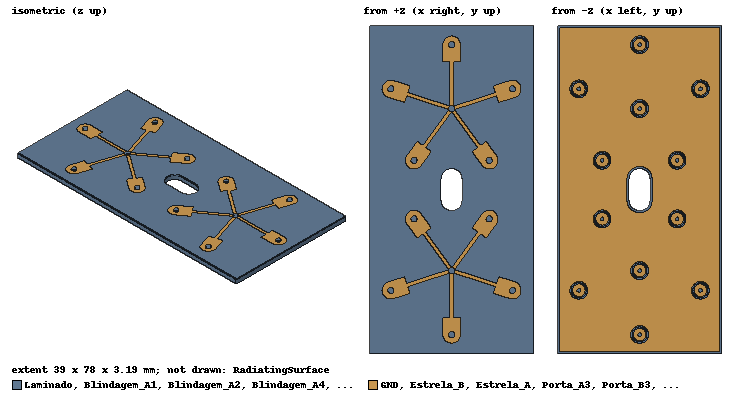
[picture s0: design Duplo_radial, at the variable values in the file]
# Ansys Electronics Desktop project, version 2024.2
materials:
  vacuum: permittivity=1
  ZYF265D: permittivity=2.65 dielectric_loss_tangent=0.0019
  SAC305: permeability=1 conductivity=7575758
  PTFE_UT141: permittivity=2.036 dielectric_loss_tangent=0.0002
  copper: permeability=0.999991 conductivity=58000000

design Duplo_radial (HFSS, HFSS Hybrid Modal Network, model units mm)
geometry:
  Laminado [ZYF265D] = box(corner=(-19.5mm, -39mm, 0mm), size=(39mm, 78mm, 1.52mm))
  GND = polyline(z=0mm, xy in mm: (-18.98, -38.48) (18.98, -38.48) (18.98, 38.48) (-18.98, 38.48) (-18.98, -38.48), closed, covered)
  Estrela_B = polyline(z=1.52mm, xy in mm: (-7.89708583, 5.15637199) (-8.14045905, 5.0363536) (-8.39741573, 4.94912856) (-8.66355925, 4.89618932) (-8.93433583, 4.87844169) (-9.20511242, 4.89618932) (-9.47125594, 4.94912856) (-9.72821262, 5.0363536) (-9.97158583, 5.15637199) (-10.19721142, 5.30713018) (-10.40122885, 5.48604867) (-10.58014734, 5.6900661) (-10.73090553, 5.91569169) (-10.85092393, 6.15906491) (-10.93814896, 6.41602158) (-10.9910882, 6.6821651) (-11.00883583, 6.95294169) (-10.9910882, 7.22371827) (-10.93814896, 7.48986179) (-10.85092393, 7.74681847) (-10.73090553, 7.99019169) (-10.61034035, 8.17063024) (-10.61264159, 8.17230219) (-8.20330984, 11.48846285) (-6.86236417, 10.5142088) (-0.77836951, 18.88810905) (-0.7945364, 18.92089225) (-0.83069621, 19.02741562) (-0.84218693, 19.08518337) (-10.68653847, 22.28380709) (-11.19873414, 20.70743091) (-15.0971148, 21.97409157) (-15.09579706, 21.97814716) (-15.24993583, 22.03047022) (-15.49330905, 22.15048861) (-15.71893463, 22.30124681) (-15.92295207, 22.4801653) (-16.10187055, 22.68418273) (-16.25262875, 22.90980831) (-16.37264714, 23.15318153) (-16.45987217, 23.41013821) (-16.51281141, 23.67628173) (-16.53055905, 23.94705831) (-16.51281141, 24.2178349) (-16.45987217, 24.48397842) (-16.37264714, 24.74093509) (-16.25262875, 24.98430831) (-16.10187055, 25.2099339) (-15.92295207, 25.41395133) (-15.71893463, 25.59286982) (-15.49330905, 25.74362801) (-15.24993583, 25.8636464) (-14.99297916, 25.95087144) (-14.72683563, 26.00381068) (-14.45605905, 26.02155831) (-14.18528246, 26.00381068) (-13.91913894, 25.95087144) (-13.81632103, 25.91596947) (-13.81500329, 25.92002506) (-9.91662263, 24.6533644) (-10.4288183, 23.07698822) (-0.58486904, 19.87849522) (-0.52353483, 19.93228387) (-0.43, 19.99478185) (-0.417, 20.00119274) (-0.417, 30.351) (-2.0745, 30.351) (-2.0745, 34.45) (-2.05675236, 34.72077659) (-2.00381313, 34.98692011) (-1.91658809, 35.24387678) (-1.7965697, 35.48725) (-1.6458115, 35.71287558) (-1.46689302, 35.91689302) (-1.26287558, 36.0958115) (-1.03725, 36.2465697) (-0.79387678, 36.36658809) (-0.53692011, 36.45381313) (-0.27077659, 36.50675236) (0, 36.5245) (0.27077659, 36.50675236) (0.53692011, 36.45381313) (0.79387678, 36.36658809) (1.03725, 36.2465697) (1.26287558, 36.0958115) (1.46689302, 35.91689302) (1.6458115, 35.71287558) (1.7965697, 35.48725) (1.91658809, 35.24387678) (2.00381313, 34.98692011) (2.05675236, 34.72077659) (2.0745, 34.45) (2.0745, 30.351) (0.417, 30.351) (0.417, 20.00119274) (0.43, 19.99478185) (0.52353483, 19.93228387) (0.58486904, 19.87849522) (10.4288183, 23.07698822) (9.91662263, 24.6533644) (13.81500329, 25.92002506) (13.81632103, 25.91596947) (13.91913894, 25.95087144) (14.18528246, 26.00381068) (14.45605905, 26.02155831) (14.72683563, 26.00381068) (14.99297916, 25.95087144) (15.24993583, 25.8636464) (15.49330905, 25.74362801) (15.71893463, 25.59286982) (15.92295207, 25.41395133) (16.10187055, 25.2099339) (16.25262875, 24.98430831) (16.37264714, 24.74093509) (16.45987217, 24.48397842) (16.51281141, 24.2178349) (16.53055905, 23.94705831) (16.51281141, 23.67628173) (16.45987217, 23.41013821) (16.37264714, 23.15318153) (16.25262875, 22.90980831) (16.10187055, 22.68418273) (15.92295207, 22.4801653) (15.71893463, 22.30124681) (15.49330905, 22.15048861) (15.24993583, 22.03047022) (15.09579706, 21.97814716) (15.0971148, 21.97409157) (11.19873414, 20.70743091) (10.68653847, 22.28380709) (0.84218693, 19.08518337) (0.83069621, 19.02741562) (0.7945364, 18.92089225) (0.77836951, 18.88810905) (6.86236417, 10.5142088) (8.20330984, 11.48846285) (10.61264159, 8.17230219) (10.61034035, 8.17063024) (10.73090553, 7.99019169) (10.85092393, 7.74681847) (10.93814896, 7.48986179) (10.9910882, 7.22371827) (11.00883583, 6.95294169) (10.9910882, 6.6821651) (10.93814896, 6.41602158) (10.85092393, 6.15906491) (10.73090553, 5.91569169) (10.58014734, 5.6900661) (10.40122885, 5.48604867) (10.19721142, 5.30713018) (9.97158583, 5.15637199) (9.72821262, 5.0363536) (9.47125594, 4.94912856) (9.20511242, 4.89618932) (8.93433583, 4.87844169) (8.66355925, 4.89618932) (8.39741573, 4.94912856) (8.14045905, 5.0363536) (7.89708583, 5.15637199) (7.67146025, 5.30713018) (7.46744282, 5.48604867) (7.28852433, 5.6900661) (7.25833132, 5.73525313) (7.25603008, 5.73358118) (4.84669833, 9.04974184) (6.187644, 10.0239959) (0.10441402, 18.39684366) (0, 18.39) (-0.10441402, 18.39684366) (-6.187644, 10.0239959) (-4.84669833, 9.04974184) (-7.25603008, 5.73358118) (-7.25833132, 5.73525313) (-7.28852433, 5.6900661) (-7.46744282, 5.48604867) (-7.67146025, 5.30713018) (-7.89708583, 5.15637199), closed, covered)
  Estrela_A = polyline(z=1.52mm, xy in mm: (-0.417, -20.00119274) (-0.43, -19.99478185) (-0.52353483, -19.93228387) (-0.58486904, -19.87849522) (-10.4288183, -23.07698822) (-9.91662263, -24.6533644) (-13.81500329, -25.92002506) (-13.81632103, -25.91596947) (-13.91913894, -25.95087144) (-14.18528246, -26.00381068) (-14.45605905, -26.02155831) (-14.72683563, -26.00381068) (-14.99297916, -25.95087144) (-15.24993583, -25.8636464) (-15.49330905, -25.74362801) (-15.71893463, -25.59286982) (-15.92295207, -25.41395133) (-16.10187055, -25.2099339) (-16.25262875, -24.98430831) (-16.37264714, -24.74093509) (-16.45987217, -24.48397842) (-16.51281141, -24.2178349) (-16.53055905, -23.94705831) (-16.51281141, -23.67628173) (-16.45987217, -23.41013821) (-16.37264714, -23.15318153) (-16.25262875, -22.90980831) (-16.10187055, -22.68418273) (-15.92295207, -22.4801653) (-15.71893463, -22.30124681) (-15.49330905, -22.15048861) (-15.24993583, -22.03047022) (-15.09579706, -21.97814716) (-15.0971148, -21.97409157) (-11.19873414, -20.70743091) (-10.68653847, -22.28380709) (-0.84218693, -19.08518337) (-0.83069621, -19.02741562) (-0.7945364, -18.92089225) (-0.77836951, -18.88810905) (-6.86236417, -10.5142088) (-8.20330984, -11.48846285) (-10.61264159, -8.17230219) (-10.61034035, -8.17063024) (-10.73090553, -7.99019169) (-10.85092393, -7.74681847) (-10.93814896, -7.48986179) (-10.9910882, -7.22371827) (-11.00883583, -6.95294169) (-10.9910882, -6.6821651) (-10.93814896, -6.41602158) (-10.85092393, -6.15906491) (-10.73090553, -5.91569169) (-10.58014734, -5.6900661) (-10.40122885, -5.48604867) (-10.19721142, -5.30713018) (-9.97158583, -5.15637199) (-9.72821262, -5.0363536) (-9.47125594, -4.94912856) (-9.20511242, -4.89618932) (-8.93433583, -4.87844169) (-8.66355925, -4.89618932) (-8.39741573, -4.94912856) (-8.14045905, -5.0363536) (-7.89708583, -5.15637199) (-7.67146025, -5.30713018) (-7.46744282, -5.48604867) (-7.28852433, -5.6900661) (-7.25833132, -5.73525313) (-7.25603008, -5.73358118) (-4.84669833, -9.04974184) (-6.187644, -10.0239959) (-0.10441402, -18.39684366) (0, -18.39) (0.10441402, -18.39684366) (6.187644, -10.0239959) (4.84669833, -9.04974184) (7.25603008, -5.73358118) (7.25833132, -5.73525313) (7.28852433, -5.6900661) (7.46744282, -5.48604867) (7.67146025, -5.30713018) (7.89708583, -5.15637199) (8.14045905, -5.0363536) (8.39741573, -4.94912856) (8.66355925, -4.89618932) (8.93433583, -4.87844169) (9.20511242, -4.89618932) (9.47125594, -4.94912856) (9.72821262, -5.0363536) (9.97158583, -5.15637199) (10.19721142, -5.30713018) (10.40122885, -5.48604867) (10.58014734, -5.6900661) (10.73090553, -5.91569169) (10.85092393, -6.15906491) (10.93814896, -6.41602158) (10.9910882, -6.6821651) (11.00883583, -6.95294169) (10.9910882, -7.22371827) (10.93814896, -7.48986179) (10.85092393, -7.74681847) (10.73090553, -7.99019169) (10.61034035, -8.17063024) (10.61264159, -8.17230219) (8.20330984, -11.48846285) (6.86236417, -10.5142088) (0.77836951, -18.88810905) (0.7945364, -18.92089225) (0.83069621, -19.02741562) (0.84218693, -19.08518337) (10.68653847, -22.28380709) (11.19873414, -20.70743091) (15.0971148, -21.97409157) (15.09579706, -21.97814716) (15.24993583, -22.03047022) (15.49330905, -22.15048861) (15.71893463, -22.30124681) (15.92295207, -22.4801653) (16.10187055, -22.68418273) (16.25262875, -22.90980831) (16.37264714, -23.15318153) (16.45987217, -23.41013821) (16.51281141, -23.67628173) (16.53055905, -23.94705831) (16.51281141, -24.2178349) (16.45987217, -24.48397842) (16.37264714, -24.74093509) (16.25262875, -24.98430831) (16.10187055, -25.2099339) (15.92295207, -25.41395133) (15.71893463, -25.59286982) (15.49330905, -25.74362801) (15.24993583, -25.8636464) (14.99297916, -25.95087144) (14.72683563, -26.00381068) (14.45605905, -26.02155831) (14.18528246, -26.00381068) (13.91913894, -25.95087144) (13.81632103, -25.91596947) (13.81500329, -25.92002506) (9.91662263, -24.6533644) (10.4288183, -23.07698822) (0.58486904, -19.87849522) (0.52353483, -19.93228387) (0.43, -19.99478185) (0.417, -20.00119274) (0.417, -30.351) (2.0745, -30.351) (2.0745, -34.45) (2.05675236, -34.72077659) (2.00381313, -34.98692011) (1.91658809, -35.24387678) (1.7965697, -35.48725) (1.6458115, -35.71287558) (1.46689302, -35.91689302) (1.26287558, -36.0958115) (1.03725, -36.2465697) (0.79387678, -36.36658809) (0.53692011, -36.45381313) (0.27077659, -36.50675236) (0, -36.5245) (-0.27077659, -36.50675236) (-0.53692011, -36.45381313) (-0.79387678, -36.36658809) (-1.03725, -36.2465697) (-1.26287558, -36.0958115) (-1.46689302, -35.91689302) (-1.6458115, -35.71287558) (-1.7965697, -35.48725) (-1.91658809, -35.24387678) (-2.00381313, -34.98692011) (-2.05675236, -34.72077659) (-2.0745, -34.45) (-2.0745, -30.351) (-0.417, -30.351) (-0.417, -20.00119274), closed, covered)
  Abertura_A_IN = circle(normal=Z, centre=(0mm, -19.25mm, 0mm), radius=1.515mm, segments=24)
  Pino_A_IN [copper] = cylinder(axis=Z, base_centre=(0mm, -19.25mm, 0mm), radius=0.525mm, height=1.52mm, segments=24)
  Anel_A_IN = circle(normal=Z, centre=(0mm, -19.25mm, 0mm), radius=0.73mm, segments=24)
  Blindagem_A_IN [copper] = cylinder(axis=Z, base_centre=(0mm, -19.25mm, -1.5mm), radius=1.7905mm, height=1.5mm, segments=24)
  PTFE_A_IN [PTFE_UT141] = cylinder(axis=Z, base_centre=(0mm, -19.25mm, -1.5mm), radius=1.515mm, height=1.5mm, segments=24)
  PTFE_A_IN_1 = PTFE_A_IN.copy()
  Blindagem_A_IN.subtract(PTFE_A_IN_1)
  Central_A_IN [copper] = cylinder(axis=Z, base_centre=(0mm, -19.25mm, -1.5mm), radius=0.45975mm, height=1.5mm, segments=24)
  Central_A_IN_1 = Central_A_IN.copy()
  PTFE_A_IN.subtract(Central_A_IN_1)
  Solda_ext_A_IN [SAC305] = cylinder(axis=Z, base_centre=(0mm, -19.25mm, -0.18mm), radius=2.13mm, height=0.18mm, segments=24)
  Recorte_ext_A_IN = cylinder(axis=Z, base_centre=(0mm, -19.25mm, -0.18mm), radius=1.7905mm, height=0.18mm, segments=24)
  Solda_ext_A_IN.subtract(Recorte_ext_A_IN)
  Solda_top_A_IN [SAC305] = cylinder(axis=Z, base_centre=(0mm, -19.25mm, 1.52mm), radius=0.74mm, height=0.17mm, segments=24)
  Abertura_A1 = circle(normal=Z, centre=(-14.45605905mm, -23.94705831mm, 0mm), radius=1.515mm, segments=24)
  Pino_A1 [copper] = cylinder(axis=Z, base_centre=(-14.45605905mm, -23.94705831mm, 0mm), radius=0.525mm, height=1.52mm, segments=24)
  Anel_A1 = circle(normal=Z, centre=(-14.45605905mm, -23.94705831mm, 0mm), radius=0.73mm, segments=24)
  Blindagem_A1 [copper] = cylinder(axis=Z, base_centre=(-14.45605905mm, -23.94705831mm, -1.5mm), radius=1.7905mm, height=1.5mm, segments=24)
  PTFE_A1 [PTFE_UT141] = cylinder(axis=Z, base_centre=(-14.45605905mm, -23.94705831mm, -1.5mm), radius=1.515mm, height=1.5mm, segments=24)
  PTFE_A1_1 = PTFE_A1.copy()
  Blindagem_A1.subtract(PTFE_A1_1)
  Central_A1 [copper] = cylinder(axis=Z, base_centre=(-14.45605905mm, -23.94705831mm, -1.5mm), radius=0.45975mm, height=1.5mm, segments=24)
  Central_A1_1 = Central_A1.copy()
  PTFE_A1.subtract(Central_A1_1)
  Solda_ext_A1 [SAC305] = cylinder(axis=Z, base_centre=(-14.45605905mm, -23.94705831mm, -0.18mm), radius=2.13mm, height=0.18mm, segments=24)
  Recorte_ext_A1 = cylinder(axis=Z, base_centre=(-14.45605905mm, -23.94705831mm, -0.18mm), radius=1.7905mm, height=0.18mm, segments=24)
  Solda_ext_A1.subtract(Recorte_ext_A1)
  Solda_top_A1 [SAC305] = cylinder(axis=Z, base_centre=(-14.45605905mm, -23.94705831mm, 1.52mm), radius=0.74mm, height=0.17mm, segments=24)
  Abertura_A2 = circle(normal=Z, centre=(-8.93433583mm, -6.95294169mm, 0mm), radius=1.515mm, segments=24)
  Pino_A2 [copper] = cylinder(axis=Z, base_centre=(-8.93433583mm, -6.95294169mm, 0mm), radius=0.525mm, height=1.52mm, segments=24)
  Anel_A2 = circle(normal=Z, centre=(-8.93433583mm, -6.95294169mm, 0mm), radius=0.73mm, segments=24)
  Blindagem_A2 [copper] = cylinder(axis=Z, base_centre=(-8.93433583mm, -6.95294169mm, -1.5mm), radius=1.7905mm, height=1.5mm, segments=24)
  PTFE_A2 [PTFE_UT141] = cylinder(axis=Z, base_centre=(-8.93433583mm, -6.95294169mm, -1.5mm), radius=1.515mm, height=1.5mm, segments=24)
  PTFE_A2_1 = PTFE_A2.copy()
  Blindagem_A2.subtract(PTFE_A2_1)
  Central_A2 [copper] = cylinder(axis=Z, base_centre=(-8.93433583mm, -6.95294169mm, -1.5mm), radius=0.45975mm, height=1.5mm, segments=24)
  Central_A2_1 = Central_A2.copy()
  PTFE_A2.subtract(Central_A2_1)
  Solda_ext_A2 [SAC305] = cylinder(axis=Z, base_centre=(-8.93433583mm, -6.95294169mm, -0.18mm), radius=2.13mm, height=0.18mm, segments=24)
  Recorte_ext_A2 = cylinder(axis=Z, base_centre=(-8.93433583mm, -6.95294169mm, -0.18mm), radius=1.7905mm, height=0.18mm, segments=24)
  Solda_ext_A2.subtract(Recorte_ext_A2)
  Solda_top_A2 [SAC305] = cylinder(axis=Z, base_centre=(-8.93433583mm, -6.95294169mm, 1.52mm), radius=0.74mm, height=0.17mm, segments=24)
  Abertura_A3 = circle(normal=Z, centre=(0mm, -34.45mm, 0mm), radius=1.515mm, segments=24)
  Pino_A3 [copper] = cylinder(axis=Z, base_centre=(0mm, -34.45mm, 0mm), radius=0.525mm, height=1.52mm, segments=24)
  Anel_A3 = circle(normal=Z, centre=(0mm, -34.45mm, 0mm), radius=0.73mm, segments=24)
  Blindagem_A3 [copper] = cylinder(axis=Z, base_centre=(0mm, -34.45mm, -1.5mm), radius=1.7905mm, height=1.5mm, segments=24)
  PTFE_A3 [PTFE_UT141] = cylinder(axis=Z, base_centre=(0mm, -34.45mm, -1.5mm), radius=1.515mm, height=1.5mm, segments=24)
  PTFE_A3_1 = PTFE_A3.copy()
  Blindagem_A3.subtract(PTFE_A3_1)
  Central_A3 [copper] = cylinder(axis=Z, base_centre=(0mm, -34.45mm, -1.5mm), radius=0.45975mm, height=1.5mm, segments=24)
  Central_A3_1 = Central_A3.copy()
  PTFE_A3.subtract(Central_A3_1)
  Solda_ext_A3 [SAC305] = cylinder(axis=Z, base_centre=(0mm, -34.45mm, -0.18mm), radius=2.13mm, height=0.18mm, segments=24)
  Recorte_ext_A3 = cylinder(axis=Z, base_centre=(0mm, -34.45mm, -0.18mm), radius=1.7905mm, height=0.18mm, segments=24)
  Solda_ext_A3.subtract(Recorte_ext_A3)
  Solda_top_A3 [SAC305] = cylinder(axis=Z, base_centre=(0mm, -34.45mm, 1.52mm), radius=0.74mm, height=0.17mm, segments=24)
  Abertura_A4 = circle(normal=Z, centre=(8.93433583mm, -6.95294169mm, 0mm), radius=1.515mm, segments=24)
  Pino_A4 [copper] = cylinder(axis=Z, base_centre=(8.93433583mm, -6.95294169mm, 0mm), radius=0.525mm, height=1.52mm, segments=24)
  Anel_A4 = circle(normal=Z, centre=(8.93433583mm, -6.95294169mm, 0mm), radius=0.73mm, segments=24)
  Blindagem_A4 [copper] = cylinder(axis=Z, base_centre=(8.93433583mm, -6.95294169mm, -1.5mm), radius=1.7905mm, height=1.5mm, segments=24)
  PTFE_A4 [PTFE_UT141] = cylinder(axis=Z, base_centre=(8.93433583mm, -6.95294169mm, -1.5mm), radius=1.515mm, height=1.5mm, segments=24)
  PTFE_A4_1 = PTFE_A4.copy()
  Blindagem_A4.subtract(PTFE_A4_1)
  Central_A4 [copper] = cylinder(axis=Z, base_centre=(8.93433583mm, -6.95294169mm, -1.5mm), radius=0.45975mm, height=1.5mm, segments=24)
  Central_A4_1 = Central_A4.copy()
  PTFE_A4.subtract(Central_A4_1)
  Solda_ext_A4 [SAC305] = cylinder(axis=Z, base_centre=(8.93433583mm, -6.95294169mm, -0.18mm), radius=2.13mm, height=0.18mm, segments=24)
  Recorte_ext_A4 = cylinder(axis=Z, base_centre=(8.93433583mm, -6.95294169mm, -0.18mm), radius=1.7905mm, height=0.18mm, segments=24)
  Solda_ext_A4.subtract(Recorte_ext_A4)
  Solda_top_A4 [SAC305] = cylinder(axis=Z, base_centre=(8.93433583mm, -6.95294169mm, 1.52mm), radius=0.74mm, height=0.17mm, segments=24)
  Abertura_A5 = circle(normal=Z, centre=(14.45605905mm, -23.94705831mm, 0mm), radius=1.515mm, segments=24)
  Pino_A5 [copper] = cylinder(axis=Z, base_centre=(14.45605905mm, -23.94705831mm, 0mm), radius=0.525mm, height=1.52mm, segments=24)
  Anel_A5 = circle(normal=Z, centre=(14.45605905mm, -23.94705831mm, 0mm), radius=0.73mm, segments=24)
  Blindagem_A5 [copper] = cylinder(axis=Z, base_centre=(14.45605905mm, -23.94705831mm, -1.5mm), radius=1.7905mm, height=1.5mm, segments=24)
  PTFE_A5 [PTFE_UT141] = cylinder(axis=Z, base_centre=(14.45605905mm, -23.94705831mm, -1.5mm), radius=1.515mm, height=1.5mm, segments=24)
  PTFE_A5_1 = PTFE_A5.copy()
  Blindagem_A5.subtract(PTFE_A5_1)
  Central_A5 [copper] = cylinder(axis=Z, base_centre=(14.45605905mm, -23.94705831mm, -1.5mm), radius=0.45975mm, height=1.5mm, segments=24)
  Central_A5_1 = Central_A5.copy()
  PTFE_A5.subtract(Central_A5_1)
  Solda_ext_A5 [SAC305] = cylinder(axis=Z, base_centre=(14.45605905mm, -23.94705831mm, -0.18mm), radius=2.13mm, height=0.18mm, segments=24)
  Recorte_ext_A5 = cylinder(axis=Z, base_centre=(14.45605905mm, -23.94705831mm, -0.18mm), radius=1.7905mm, height=0.18mm, segments=24)
  Solda_ext_A5.subtract(Recorte_ext_A5)
  Solda_top_A5 [SAC305] = cylinder(axis=Z, base_centre=(14.45605905mm, -23.94705831mm, 1.52mm), radius=0.74mm, height=0.17mm, segments=24)
  Abertura_B_IN = circle(normal=Z, centre=(0mm, 19.25mm, 0mm), radius=1.515mm, segments=24)
  Pino_B_IN [copper] = cylinder(axis=Z, base_centre=(0mm, 19.25mm, 0mm), radius=0.525mm, height=1.52mm, segments=24)
  Anel_B_IN = circle(normal=Z, centre=(0mm, 19.25mm, 0mm), radius=0.73mm, segments=24)
  Blindagem_B_IN [copper] = cylinder(axis=Z, base_centre=(0mm, 19.25mm, -1.5mm), radius=1.7905mm, height=1.5mm, segments=24)
  PTFE_B_IN [PTFE_UT141] = cylinder(axis=Z, base_centre=(0mm, 19.25mm, -1.5mm), radius=1.515mm, height=1.5mm, segments=24)
  PTFE_B_IN_1 = PTFE_B_IN.copy()
  Blindagem_B_IN.subtract(PTFE_B_IN_1)
  Central_B_IN [copper] = cylinder(axis=Z, base_centre=(0mm, 19.25mm, -1.5mm), radius=0.45975mm, height=1.5mm, segments=24)
  Central_B_IN_1 = Central_B_IN.copy()
  PTFE_B_IN.subtract(Central_B_IN_1)
  Solda_ext_B_IN [SAC305] = cylinder(axis=Z, base_centre=(0mm, 19.25mm, -0.18mm), radius=2.13mm, height=0.18mm, segments=24)
  Recorte_ext_B_IN = cylinder(axis=Z, base_centre=(0mm, 19.25mm, -0.18mm), radius=1.7905mm, height=0.18mm, segments=24)
  Solda_ext_B_IN.subtract(Recorte_ext_B_IN)
  Solda_top_B_IN [SAC305] = cylinder(axis=Z, base_centre=(0mm, 19.25mm, 1.52mm), radius=0.74mm, height=0.17mm, segments=24)
  Abertura_B1 = circle(normal=Z, centre=(-14.45605905mm, 23.94705831mm, 0mm), radius=1.515mm, segments=24)
  Pino_B1 [copper] = cylinder(axis=Z, base_centre=(-14.45605905mm, 23.94705831mm, 0mm), radius=0.525mm, height=1.52mm, segments=24)
  Anel_B1 = circle(normal=Z, centre=(-14.45605905mm, 23.94705831mm, 0mm), radius=0.73mm, segments=24)
  Blindagem_B1 [copper] = cylinder(axis=Z, base_centre=(-14.45605905mm, 23.94705831mm, -1.5mm), radius=1.7905mm, height=1.5mm, segments=24)
  PTFE_B1 [PTFE_UT141] = cylinder(axis=Z, base_centre=(-14.45605905mm, 23.94705831mm, -1.5mm), radius=1.515mm, height=1.5mm, segments=24)
  PTFE_B1_1 = PTFE_B1.copy()
  Blindagem_B1.subtract(PTFE_B1_1)
  Central_B1 [copper] = cylinder(axis=Z, base_centre=(-14.45605905mm, 23.94705831mm, -1.5mm), radius=0.45975mm, height=1.5mm, segments=24)
  Central_B1_1 = Central_B1.copy()
  PTFE_B1.subtract(Central_B1_1)
  Solda_ext_B1 [SAC305] = cylinder(axis=Z, base_centre=(-14.45605905mm, 23.94705831mm, -0.18mm), radius=2.13mm, height=0.18mm, segments=24)
  Recorte_ext_B1 = cylinder(axis=Z, base_centre=(-14.45605905mm, 23.94705831mm, -0.18mm), radius=1.7905mm, height=0.18mm, segments=24)
  Solda_ext_B1.subtract(Recorte_ext_B1)
  Solda_top_B1 [SAC305] = cylinder(axis=Z, base_centre=(-14.45605905mm, 23.94705831mm, 1.52mm), radius=0.74mm, height=0.17mm, segments=24)
  Abertura_B2 = circle(normal=Z, centre=(-8.93433583mm, 6.95294169mm, 0mm), radius=1.515mm, segments=24)
  Pino_B2 [copper] = cylinder(axis=Z, base_centre=(-8.93433583mm, 6.95294169mm, 0mm), radius=0.525mm, height=1.52mm, segments=24)
  Anel_B2 = circle(normal=Z, centre=(-8.93433583mm, 6.95294169mm, 0mm), radius=0.73mm, segments=24)
  Blindagem_B2 [copper] = cylinder(axis=Z, base_centre=(-8.93433583mm, 6.95294169mm, -1.5mm), radius=1.7905mm, height=1.5mm, segments=24)
  PTFE_B2 [PTFE_UT141] = cylinder(axis=Z, base_centre=(-8.93433583mm, 6.95294169mm, -1.5mm), radius=1.515mm, height=1.5mm, segments=24)
  PTFE_B2_1 = PTFE_B2.copy()
  Blindagem_B2.subtract(PTFE_B2_1)
  Central_B2 [copper] = cylinder(axis=Z, base_centre=(-8.93433583mm, 6.95294169mm, -1.5mm), radius=0.45975mm, height=1.5mm, segments=24)
  Central_B2_1 = Central_B2.copy()
  PTFE_B2.subtract(Central_B2_1)
  Solda_ext_B2 [SAC305] = cylinder(axis=Z, base_centre=(-8.93433583mm, 6.95294169mm, -0.18mm), radius=2.13mm, height=0.18mm, segments=24)
  Recorte_ext_B2 = cylinder(axis=Z, base_centre=(-8.93433583mm, 6.95294169mm, -0.18mm), radius=1.7905mm, height=0.18mm, segments=24)
  Solda_ext_B2.subtract(Recorte_ext_B2)
  Solda_top_B2 [SAC305] = cylinder(axis=Z, base_centre=(-8.93433583mm, 6.95294169mm, 1.52mm), radius=0.74mm, height=0.17mm, segments=24)
  Abertura_B3 = circle(normal=Z, centre=(0mm, 34.45mm, 0mm), radius=1.515mm, segments=24)
  Pino_B3 [copper] = cylinder(axis=Z, base_centre=(0mm, 34.45mm, 0mm), radius=0.525mm, height=1.52mm, segments=24)
  Anel_B3 = circle(normal=Z, centre=(0mm, 34.45mm, 0mm), radius=0.73mm, segments=24)
  Blindagem_B3 [copper] = cylinder(axis=Z, base_centre=(0mm, 34.45mm, -1.5mm), radius=1.7905mm, height=1.5mm, segments=24)
  PTFE_B3 [PTFE_UT141] = cylinder(axis=Z, base_centre=(0mm, 34.45mm, -1.5mm), radius=1.515mm, height=1.5mm, segments=24)
  PTFE_B3_1 = PTFE_B3.copy()
  Blindagem_B3.subtract(PTFE_B3_1)
  Central_B3 [copper] = cylinder(axis=Z, base_centre=(0mm, 34.45mm, -1.5mm), radius=0.45975mm, height=1.5mm, segments=24)
  Central_B3_1 = Central_B3.copy()
  PTFE_B3.subtract(Central_B3_1)
  Solda_ext_B3 [SAC305] = cylinder(axis=Z, base_centre=(0mm, 34.45mm, -0.18mm), radius=2.13mm, height=0.18mm, segments=24)
  Recorte_ext_B3 = cylinder(axis=Z, base_centre=(0mm, 34.45mm, -0.18mm), radius=1.7905mm, height=0.18mm, segments=24)
  Solda_ext_B3.subtract(Recorte_ext_B3)
  Solda_top_B3 [SAC305] = cylinder(axis=Z, base_centre=(0mm, 34.45mm, 1.52mm), radius=0.74mm, height=0.17mm, segments=24)
  Abertura_B4 = circle(normal=Z, centre=(8.93433583mm, 6.95294169mm, 0mm), radius=1.515mm, segments=24)
  Pino_B4 [copper] = cylinder(axis=Z, base_centre=(8.93433583mm, 6.95294169mm, 0mm), radius=0.525mm, height=1.52mm, segments=24)
  Anel_B4 = circle(normal=Z, centre=(8.93433583mm, 6.95294169mm, 0mm), radius=0.73mm, segments=24)
  Blindagem_B4 [copper] = cylinder(axis=Z, base_centre=(8.93433583mm, 6.95294169mm, -1.5mm), radius=1.7905mm, height=1.5mm, segments=24)
  PTFE_B4 [PTFE_UT141] = cylinder(axis=Z, base_centre=(8.93433583mm, 6.95294169mm, -1.5mm), radius=1.515mm, height=1.5mm, segments=24)
  PTFE_B4_1 = PTFE_B4.copy()
  Blindagem_B4.subtract(PTFE_B4_1)
  Central_B4 [copper] = cylinder(axis=Z, base_centre=(8.93433583mm, 6.95294169mm, -1.5mm), radius=0.45975mm, height=1.5mm, segments=24)
  Central_B4_1 = Central_B4.copy()
  PTFE_B4.subtract(Central_B4_1)
  Solda_ext_B4 [SAC305] = cylinder(axis=Z, base_centre=(8.93433583mm, 6.95294169mm, -0.18mm), radius=2.13mm, height=0.18mm, segments=24)
  Recorte_ext_B4 = cylinder(axis=Z, base_centre=(8.93433583mm, 6.95294169mm, -0.18mm), radius=1.7905mm, height=0.18mm, segments=24)
  Solda_ext_B4.subtract(Recorte_ext_B4)
  Solda_top_B4 [SAC305] = cylinder(axis=Z, base_centre=(8.93433583mm, 6.95294169mm, 1.52mm), radius=0.74mm, height=0.17mm, segments=24)
  Abertura_B5 = circle(normal=Z, centre=(14.45605905mm, 23.94705831mm, 0mm), radius=1.515mm, segments=24)
  Pino_B5 [copper] = cylinder(axis=Z, base_centre=(14.45605905mm, 23.94705831mm, 0mm), radius=0.525mm, height=1.52mm, segments=24)
  Anel_B5 = circle(normal=Z, centre=(14.45605905mm, 23.94705831mm, 0mm), radius=0.73mm, segments=24)
  Blindagem_B5 [copper] = cylinder(axis=Z, base_centre=(14.45605905mm, 23.94705831mm, -1.5mm), radius=1.7905mm, height=1.5mm, segments=24)
  PTFE_B5 [PTFE_UT141] = cylinder(axis=Z, base_centre=(14.45605905mm, 23.94705831mm, -1.5mm), radius=1.515mm, height=1.5mm, segments=24)
  PTFE_B5_1 = PTFE_B5.copy()
  Blindagem_B5.subtract(PTFE_B5_1)
  Central_B5 [copper] = cylinder(axis=Z, base_centre=(14.45605905mm, 23.94705831mm, -1.5mm), radius=0.45975mm, height=1.5mm, segments=24)
  Central_B5_1 = Central_B5.copy()
  PTFE_B5.subtract(Central_B5_1)
  Solda_ext_B5 [SAC305] = cylinder(axis=Z, base_centre=(14.45605905mm, 23.94705831mm, -0.18mm), radius=2.13mm, height=0.18mm, segments=24)
  Recorte_ext_B5 = cylinder(axis=Z, base_centre=(14.45605905mm, 23.94705831mm, -0.18mm), radius=1.7905mm, height=0.18mm, segments=24)
  Solda_ext_B5.subtract(Recorte_ext_B5)
  Solda_top_B5 [SAC305] = cylinder(axis=Z, base_centre=(14.45605905mm, 23.94705831mm, 1.52mm), radius=0.74mm, height=0.17mm, segments=24)
  GND.subtract(Abertura_A_IN, Abertura_A1..Abertura_A5, Abertura_B_IN, Abertura_B1..Abertura_B5)
  Pino_A_IN_1 = Pino_A_IN.copy()
  Pino_A1_1 = Pino_A1.copy()
  Pino_A2_1 = Pino_A2.copy()
  Pino_A3_1 = Pino_A3.copy()
  Pino_A4_1 = Pino_A4.copy()
  Pino_A5_1 = Pino_A5.copy()
  Pino_B_IN_1 = Pino_B_IN.copy()
  Pino_B1_1 = Pino_B1.copy()
  Pino_B2_1 = Pino_B2.copy()
  Pino_B3_1 = Pino_B3.copy()
  Pino_B4_1 = Pino_B4.copy()
  Pino_B5_1 = Pino_B5.copy()
  Laminado.subtract(Pino_A_IN_1, Pino_A1_1, Pino_A2_1, Pino_A3_1, Pino_A4_1, Pino_A5_1, Pino_B_IN_1, Pino_B1_1, Pino_B2_1, Pino_B3_1, Pino_B4_1, Pino_B5_1)
  Canal_mecanico = polyline(z=0mm, xy in mm: (-2.5, 2.50916841) (-2.48796182, 2.75421126) (-2.4519632, 2.99689422) (-2.39235084, 3.23488011) (-2.30969883, 3.46587699) (-2.20480316, 3.68766026) (-2.07867403, 3.898094) (-1.93252613, 4.09515162) (-1.76776695, 4.27693537) (-1.58598321, 4.44169455) (-1.38892558, 4.58784244) (-1.17849184, 4.71397157) (-0.95670858, 4.81886724) (-0.72571169, 4.90151925) (-0.48772581, 4.96113161) (-0.24504285, 4.99713023) (0, 5.00916841) (0.24504285, 4.99713023) (0.48772581, 4.96113161) (0.72571169, 4.90151925) (0.95670858, 4.81886724) (1.17849184, 4.71397157) (1.38892558, 4.58784244) (1.58598321, 4.44169455) (1.76776695, 4.27693537) (1.93252613, 4.09515162) (2.07867403, 3.898094) (2.20480316, 3.68766026) (2.30969883, 3.46587699) (2.39235084, 3.23488011) (2.4519632, 2.99689422) (2.48796182, 2.75421126) (2.5, 2.50916841) (2.5, -2.50916841) (2.48796182, -2.75421126) (2.4519632, -2.99689422) (2.39235084, -3.23488011) (2.30969883, -3.46587699) (2.20480316, -3.68766026) (2.07867403, -3.898094) (1.93252613, -4.09515162) (1.76776695, -4.27693537) (1.58598321, -4.44169455) (1.38892558, -4.58784244) (1.17849184, -4.71397157) (0.95670858, -4.81886724) (0.72571169, -4.90151925) (0.48772581, -4.96113161) (0.24504285, -4.99713023) (0, -5.00916841) (-0.24504285, -4.99713023) (-0.48772581, -4.96113161) (-0.72571169, -4.90151925) (-0.95670858, -4.81886724) (-1.17849184, -4.71397157) (-1.38892558, -4.58784244) (-1.58598321, -4.44169455) (-1.76776695, -4.27693537) (-1.93252613, -4.09515162) (-2.07867403, -3.898094) (-2.20480316, -3.68766026) (-2.30969883, -3.46587699) (-2.39235084, -3.23488011) (-2.4519632, -2.99689422) (-2.48796182, -2.75421126) (-2.5, -2.50916841) (-2.5, 2.50916841), closed, covered)
  Canal_mecanico.sweep_along_vector((0mm, 0mm, 1.52mm))
  Laminado.subtract(Canal_mecanico)
  Folga_massa = polyline(z=0mm, xy in mm: (-3, 2.50916841) (-2.98555418, 2.80321983) (-2.94235584, 3.09443938) (-2.87082101, 3.38002244) (-2.7716386, 3.65721871) (-2.64576379, 3.92335862) (-2.49440884, 4.17587911) (-2.31903136, 4.41234827) (-2.12132034, 4.63048876) (-1.90317985, 4.82819977) (-1.6667107, 5.00357725) (-1.41419021, 5.15493221) (-1.1480503, 5.28080701) (-0.87085403, 5.37998942) (-0.58527097, 5.45152425) (-0.29405142, 5.49472259) (0, 5.50916841) (0.29405142, 5.49472259) (0.58527097, 5.45152425) (0.87085403, 5.37998942) (1.1480503, 5.28080701) (1.41419021, 5.15493221) (1.6667107, 5.00357725) (1.90317985, 4.82819977) (2.12132034, 4.63048876) (2.31903136, 4.41234827) (2.49440884, 4.17587911) (2.64576379, 3.92335862) (2.7716386, 3.65721871) (2.87082101, 3.38002244) (2.94235584, 3.09443938) (2.98555418, 2.80321983) (3, 2.50916841) (3, -2.50916841) (2.98555418, -2.80321983) (2.94235584, -3.09443938) (2.87082101, -3.38002244) (2.7716386, -3.65721871) (2.64576379, -3.92335862) (2.49440884, -4.17587911) (2.31903136, -4.41234827) (2.12132034, -4.63048876) (1.90317985, -4.82819977) (1.6667107, -5.00357725) (1.41419021, -5.15493221) (1.1480503, -5.28080701) (0.87085403, -5.37998942) (0.58527097, -5.45152425) (0.29405142, -5.49472259) (0, -5.50916841) (-0.29405142, -5.49472259) (-0.58527097, -5.45152425) (-0.87085403, -5.37998942) (-1.1480503, -5.28080701) (-1.41419021, -5.15493221) (-1.6667107, -5.00357725) (-1.90317985, -4.82819977) (-2.12132034, -4.63048876) (-2.31903136, -4.41234827) (-2.49440884, -4.17587911) (-2.64576379, -3.92335862) (-2.7716386, -3.65721871) (-2.87082101, -3.38002244) (-2.94235584, -3.09443938) (-2.98555418, -2.80321983) (-3, -2.50916841) (-3, 2.50916841), closed, covered)
  GND.subtract(Folga_massa)
  Porta_A_IN = circle(normal=Z, centre=(0mm, -19.25mm, -1.5mm), radius=1.515mm, segments=24)
  Buraco_A_IN = circle(normal=Z, centre=(0mm, -19.25mm, -1.5mm), radius=0.45975mm, segments=24)
  Porta_A_IN.subtract(Buraco_A_IN)
  Porta_A1 = circle(normal=Z, centre=(-14.45605905mm, -23.94705831mm, -1.5mm), radius=1.515mm, segments=24)
  Buraco_A1 = circle(normal=Z, centre=(-14.45605905mm, -23.94705831mm, -1.5mm), radius=0.45975mm, segments=24)
  Porta_A1.subtract(Buraco_A1)
  Porta_A2 = circle(normal=Z, centre=(-8.93433583mm, -6.95294169mm, -1.5mm), radius=1.515mm, segments=24)
  Buraco_A2 = circle(normal=Z, centre=(-8.93433583mm, -6.95294169mm, -1.5mm), radius=0.45975mm, segments=24)
  Porta_A2.subtract(Buraco_A2)
  Porta_A3 = circle(normal=Z, centre=(0mm, -34.45mm, -1.5mm), radius=1.515mm, segments=24)
  Buraco_A3 = circle(normal=Z, centre=(0mm, -34.45mm, -1.5mm), radius=0.45975mm, segments=24)
  Porta_A3.subtract(Buraco_A3)
  Porta_A4 = circle(normal=Z, centre=(8.93433583mm, -6.95294169mm, -1.5mm), radius=1.515mm, segments=24)
  Buraco_A4 = circle(normal=Z, centre=(8.93433583mm, -6.95294169mm, -1.5mm), radius=0.45975mm, segments=24)
  Porta_A4.subtract(Buraco_A4)
  Porta_A5 = circle(normal=Z, centre=(14.45605905mm, -23.94705831mm, -1.5mm), radius=1.515mm, segments=24)
  Buraco_A5 = circle(normal=Z, centre=(14.45605905mm, -23.94705831mm, -1.5mm), radius=0.45975mm, segments=24)
  Porta_A5.subtract(Buraco_A5)
  Porta_B_IN = circle(normal=Z, centre=(0mm, 19.25mm, -1.5mm), radius=1.515mm, segments=24)
  Buraco_B_IN = circle(normal=Z, centre=(0mm, 19.25mm, -1.5mm), radius=0.45975mm, segments=24)
  Porta_B_IN.subtract(Buraco_B_IN)
  Porta_B1 = circle(normal=Z, centre=(-14.45605905mm, 23.94705831mm, -1.5mm), radius=1.515mm, segments=24)
  Buraco_B1 = circle(normal=Z, centre=(-14.45605905mm, 23.94705831mm, -1.5mm), radius=0.45975mm, segments=24)
  Porta_B1.subtract(Buraco_B1)
  Porta_B2 = circle(normal=Z, centre=(-8.93433583mm, 6.95294169mm, -1.5mm), radius=1.515mm, segments=24)
  Buraco_B2 = circle(normal=Z, centre=(-8.93433583mm, 6.95294169mm, -1.5mm), radius=0.45975mm, segments=24)
  Porta_B2.subtract(Buraco_B2)
  Porta_B3 = circle(normal=Z, centre=(0mm, 34.45mm, -1.5mm), radius=1.515mm, segments=24)
  Buraco_B3 = circle(normal=Z, centre=(0mm, 34.45mm, -1.5mm), radius=0.45975mm, segments=24)
  Porta_B3.subtract(Buraco_B3)
  Porta_B4 = circle(normal=Z, centre=(8.93433583mm, 6.95294169mm, -1.5mm), radius=1.515mm, segments=24)
  Buraco_B4 = circle(normal=Z, centre=(8.93433583mm, 6.95294169mm, -1.5mm), radius=0.45975mm, segments=24)
  Porta_B4.subtract(Buraco_B4)
  Porta_B5 = circle(normal=Z, centre=(14.45605905mm, 23.94705831mm, -1.5mm), radius=1.515mm, segments=24)
  Buraco_B5 = circle(normal=Z, centre=(14.45605905mm, 23.94705831mm, -1.5mm), radius=0.45975mm, segments=24)
  Porta_B5.subtract(Buraco_B5)
  RadiatingSurface [vacuum] = region(absolute_offset=19.646365mm on all sides)
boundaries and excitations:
  Cobre_35um: Finite Conductivity Objects=[GND, Estrela_B, Estrela_A, Anel_A_IN, Anel_A1..Anel_A5, Anel_B_IN, Anel_B1..Anel_B5] UseMaterial Material=copper Thickness=0.035mm Roughness=0.5um IsInternal
  Open1: Radiation Objects=RadiatingSurface
  A_IN: Lumped Port Objects=Porta_A_IN LumpedPortType=Modal Modes{Mode1{IntLine{(0.45975, -19.25, -1.5) -> (1.515, -19.25, -1.5)} CharImp=Zpi RenormImp=50ohm}} Impedance=50ohm
  A1: Lumped Port Objects=Porta_A1 LumpedPortType=Modal Modes{Mode1{IntLine{(-13.99630905, -23.94705831, -1.5) -> (-12.94105905, -23.94705831, -1.5)} CharImp=Zpi RenormImp=50ohm}} Impedance=50ohm
  A2: Lumped Port Objects=Porta_A2 LumpedPortType=Modal Modes{Mode1{IntLine{(-8.47458583, -6.95294169, -1.5) -> (-7.41933583, -6.95294169, -1.5)} CharImp=Zpi RenormImp=50ohm}} Impedance=50ohm
  A3: Lumped Port Objects=Porta_A3 LumpedPortType=Modal Modes{Mode1{IntLine{(0.45975, -34.45, -1.5) -> (1.515, -34.45, -1.5)} CharImp=Zpi RenormImp=50ohm}} Impedance=50ohm
  A4: Lumped Port Objects=Porta_A4 LumpedPortType=Modal Modes{Mode1{IntLine{(9.39408583, -6.95294169, -1.5) -> (10.44933583, -6.95294169, -1.5)} CharImp=Zpi RenormImp=50ohm}} Impedance=50ohm
  A5: Lumped Port Objects=Porta_A5 LumpedPortType=Modal Modes{Mode1{IntLine{(14.91580905, -23.94705831, -1.5) -> (15.97105905, -23.94705831, -1.5)} CharImp=Zpi RenormImp=50ohm}} Impedance=50ohm
  B_IN: Lumped Port Objects=Porta_B_IN LumpedPortType=Modal Modes{Mode1{IntLine{(0.45975, 19.25, -1.5) -> (1.515, 19.25, -1.5)} CharImp=Zpi RenormImp=50ohm}} Impedance=50ohm
  B1: Lumped Port Objects=Porta_B1 LumpedPortType=Modal Modes{Mode1{IntLine{(-13.99630905, 23.94705831, -1.5) -> (-12.94105905, 23.94705831, -1.5)} CharImp=Zpi RenormImp=50ohm}} Impedance=50ohm
  B2: Lumped Port Objects=Porta_B2 LumpedPortType=Modal Modes{Mode1{IntLine{(-8.47458583, 6.95294169, -1.5) -> (-7.41933583, 6.95294169, -1.5)} CharImp=Zpi RenormImp=50ohm}} Impedance=50ohm
  B3: Lumped Port Objects=Porta_B3 LumpedPortType=Modal Modes{Mode1{IntLine{(0.45975, 34.45, -1.5) -> (1.515, 34.45, -1.5)} CharImp=Zpi RenormImp=50ohm}} Impedance=50ohm
  B4: Lumped Port Objects=Porta_B4 LumpedPortType=Modal Modes{Mode1{IntLine{(9.39408583, 6.95294169, -1.5) -> (10.44933583, 6.95294169, -1.5)} CharImp=Zpi RenormImp=50ohm}} Impedance=50ohm
  B5: Lumped Port Objects=Porta_B5 LumpedPortType=Modal Modes{Mode1{IntLine{(14.91580905, 23.94705831, -1.5) -> (15.97105905, 23.94705831, -1.5)} CharImp=Zpi RenormImp=50ohm}} Impedance=50ohm
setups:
  Divisor: HfssDriven Frequency=5.17GHz MaxDeltaS=0.012 MaximumPasses=16 MinimumPasses=3 MinimumConvergedPasses=2 PercentRefinement=24 BasisOrder=1 PortAccuracy=2 DrivenSolverType="Direct Solver"
    sweep Banda: 5090MHz to 5250MHz step 10MHz; Type=Discrete
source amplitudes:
  A_IN:1: 1W 0deg
  A1:1, A2:1, A3:1, A4:1, A5:1, B_IN:1, B1:1, B2:1, B3:1, B4:1, B5:1: 0W 0deg
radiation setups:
  3D: Infinite Sphere Theta=0deg..180deg step 2deg Phi=-180deg..180deg step 2deg
  Elevation: Infinite Sphere Theta=-180deg..180deg step 1deg Phi=0deg..90deg step 90deg
  Azimuth: Infinite Sphere Theta=90deg..90deg step 0deg Phi=-180deg..180deg step 1deg
